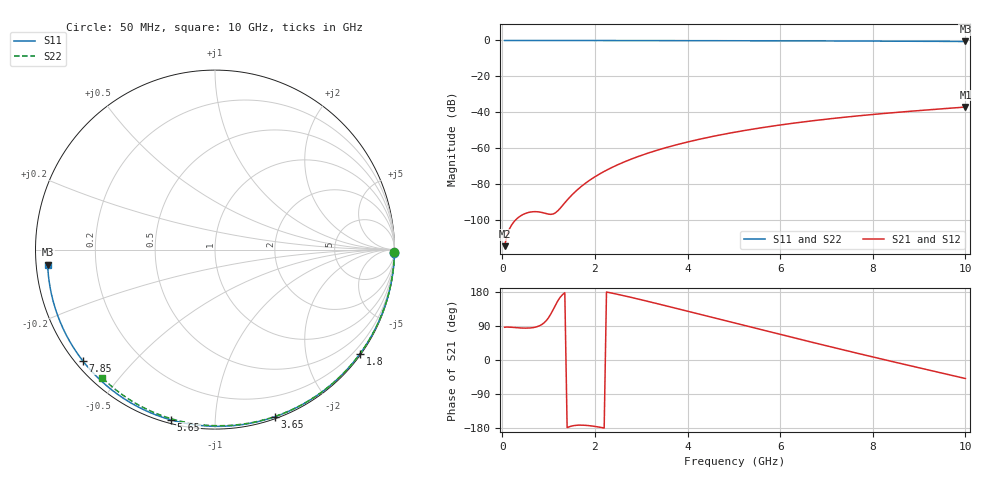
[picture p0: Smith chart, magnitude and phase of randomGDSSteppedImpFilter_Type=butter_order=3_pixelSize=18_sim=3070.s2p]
! freq	dB(S11)	phase(S11)	dB(S12)	phase(S12)
!  dB(S21)	phase(S21)	dB(S22)	phase(S22)
!S-par simulation data
#  GHz  S  DB  R 50
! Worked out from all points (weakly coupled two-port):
!   200 points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, 50 MHz to 10 GHz, reference 50 ohm
!   highest |S21| = -37.05 dB at 10 GHz (marker M1); lowest = -114.4 dB at 50 MHz (marker M2)
!   lowest |S11| = -0.6 dB at 10 GHz (marker M3), VSWR 30.35, Z = 1.65 - j2.22 ohm
!   |S11| at or under -10 dB: nowhere
!   |S22| runs from -0.4 to 0.0 dB; largest |S21 - S12| = 0
!   S11 on the Smith chart (normalised r, x): 50 MHz: open; 1.8 GHz: 0.03, -3.11; 3.65 GHz: 0.02, -1.42; 5.65 GHz: 0.02, -0.78; 7.85 GHz: 0.02, -0.37; 10 GHz: 0.03, -0.04
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0.05  -0.00 -1.0  -114.43 86.4  -114.43 86.4  -0.00 -0.8
0.45  -0.01 -9.1  -96.78 84.2  -96.78 84.2  -0.01 -6.8
0.85  -0.02 -17.1  -95.66 93.4  -95.66 93.4  -0.02 -12.8
1.3  -0.03 -25.9  -91.83 172.4  -91.83 172.4  -0.02 -19.5
1.75  -0.04 -34.7  -80.31 -172.0  -80.31 -172.0  -0.03 -26.2
1.8  -0.05 -35.7  -79.33 -172.4  -79.33 -172.4  -0.03 -26.9
2.1  -0.05 -41.4  -74.29 -177.2  -74.29 -177.2  -0.04 -31.3
2.3  -0.06 -45.2  -71.51 178.2  -71.51 178.2  -0.04 -34.2
2.5  -0.06 -49.0  -69.06 173.1  -69.06 173.1  -0.05 -37.1
2.9  -0.07 -56.5  -64.88 161.9  -64.88 161.9  -0.06 -42.8
3.4  -0.09 -65.6  -60.63 147.1  -60.63 147.1  -0.07 -49.9
3.65  -0.09 -70.1  -58.80 139.5  -58.80 139.5  -0.07 -53.3
4.35  -0.12 -82.5  -54.43 118.0  -54.43 118.0  -0.09 -62.9
5.05  -0.15 -94.4  -50.89 96.5  -50.89 96.5  -0.11 -72.2
5.65  -0.17 -104.4  -48.34 78.2  -48.34 78.2  -0.13 -79.9
6.15  -0.20 -112.6  -46.48 63.0  -46.48 63.0  -0.15 -86.2
6.7  -0.24 -121.4  -44.67 46.5  -44.67 46.5  -0.18 -93.0
7.3  -0.28 -131.0  -42.94 28.6  -42.94 28.6  -0.21 -100.3
7.85  -0.33 -139.8  -41.53 12.4  -41.53 12.4  -0.25 -106.8
8.35  -0.38 -147.7  -40.37 -2.1  -40.37 -2.1  -0.29 -112.6
9.2  -0.47 -161.5  -38.59 -26.3  -38.59 -26.3  -0.36 -122.3
10  -0.57 -174.9  -37.05 -48.9  -37.05 -48.9  -0.44 -131.4
